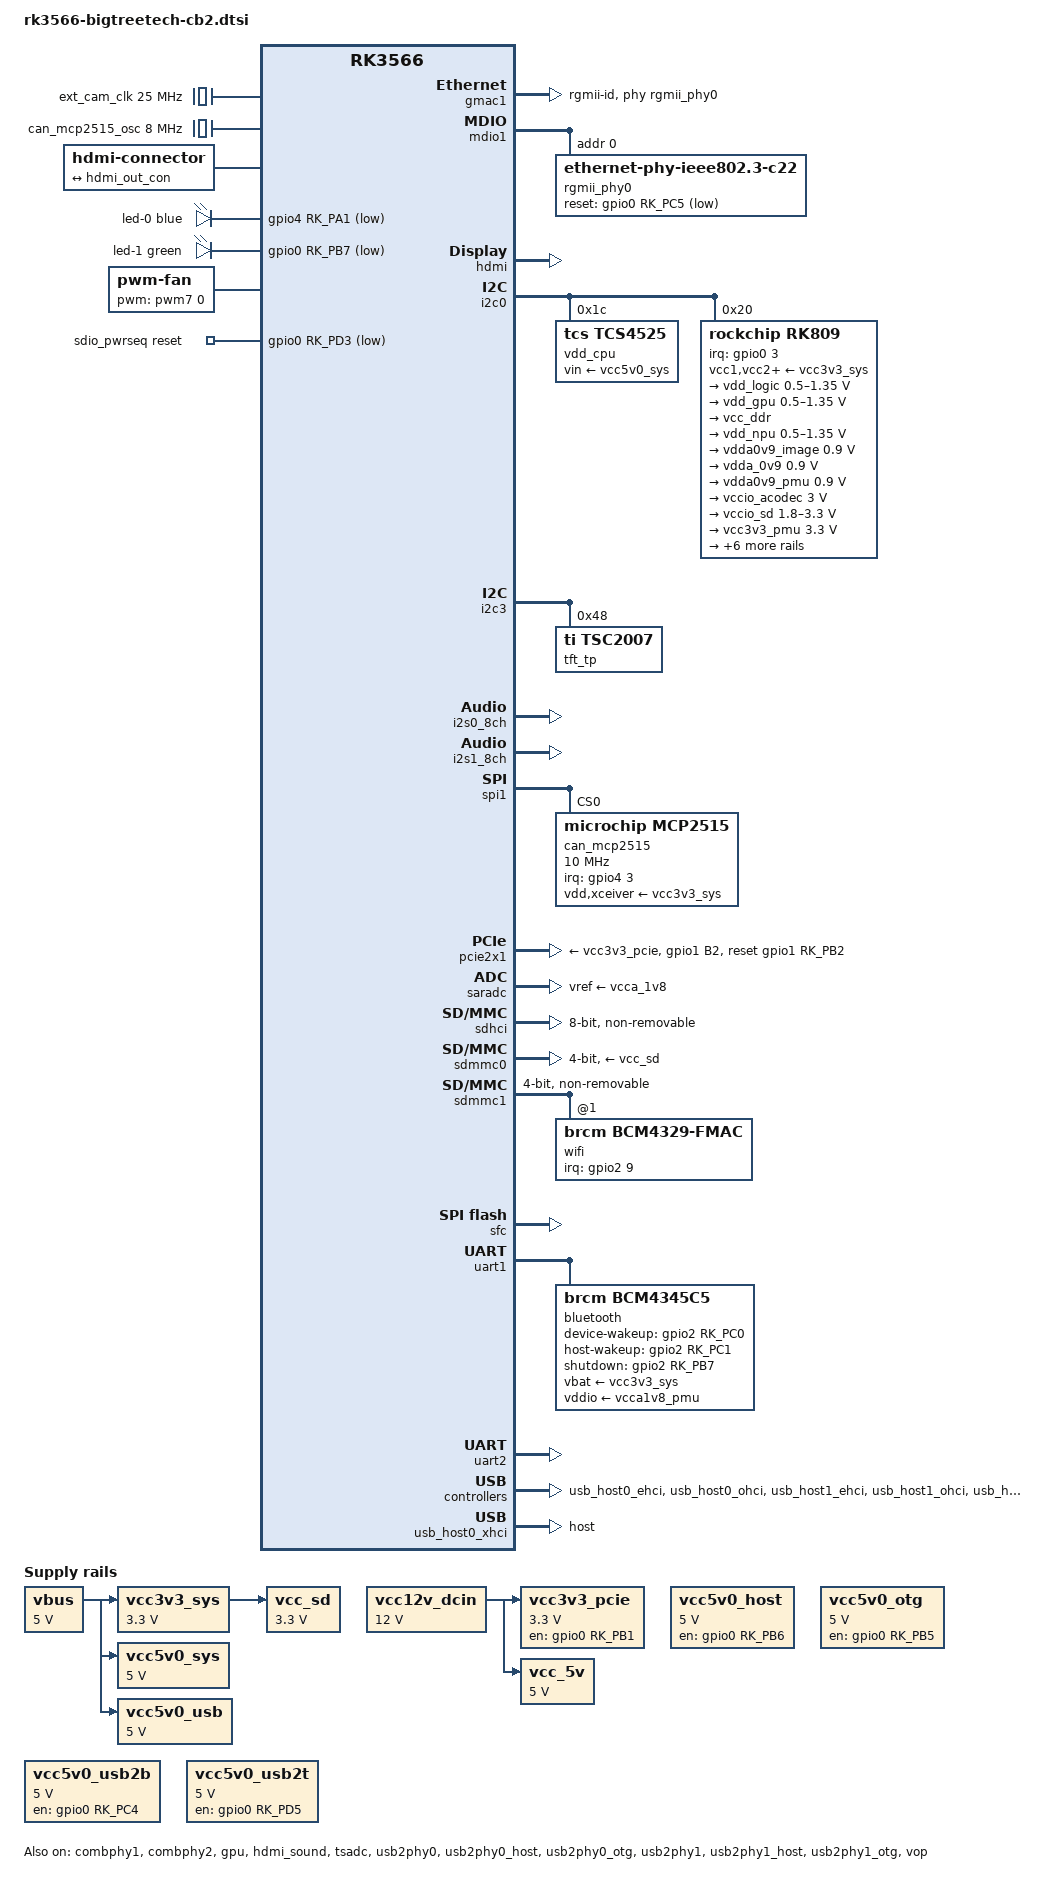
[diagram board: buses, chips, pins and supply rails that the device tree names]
// SPDX-License-Identifier: (GPL-2.0+ OR MIT)

/dts-v1/;

#include <dt-bindings/gpio/gpio.h>
#include <dt-bindings/pwm/pwm.h>
#include <dt-bindings/pinctrl/rockchip.h>
#include <dt-bindings/soc/rockchip,vop2.h>
#include <dt-bindings/leds/common.h>
#include "rk3566.dtsi"

/ {
	aliases {
		ethernet0 = &gmac1;
		mmc0 = &sdhci;
		mmc1 = &sdmmc0;
	};

	chosen: chosen {
		stdout-path = "serial2:1500000n8";
	};

	ext_cam_clk: clock-25000000-cam {
		compatible = "fixed-clock";
		clock-frequency = <25000000>;
		clock-output-names = "ext_cam_clk";
		#clock-cells = <0>;
	};

	can_mcp2515_osc: clock-8000000-mcp2515 {
		compatible = "fixed-clock";
		clock-frequency = <8000000>;
		#clock-cells = <0>;
	};

	hdmi-con {
		compatible = "hdmi-connector";
		type = "a";

		port {
			hdmi_con_in: endpoint {
				remote-endpoint = <&hdmi_out_con>;
			};
		};
	};

	leds: leds {
		compatible = "gpio-leds";

		led-0 {
			color = <LED_COLOR_ID_BLUE>;
			function = LED_FUNCTION_POWER;
			gpios = <&gpio4 RK_PA1 GPIO_ACTIVE_LOW>;
			linux,default-trigger = "default-on";
			pinctrl-names = "default";
			pinctrl-0 =<&blue_led>;
		};

		led-1 {
			color = <LED_COLOR_ID_GREEN>;
			function = LED_FUNCTION_HEARTBEAT;
			gpios = <&gpio0 RK_PB7 GPIO_ACTIVE_LOW>;
			linux,default-trigger = "heartbeat";
			pinctrl-names = "default";
			pinctrl-0 =<&heartbeat_led>;
		};
	};

	fan: pwm-fan {
		compatible = "pwm-fan";
		#cooling-cells = <2>;
		cooling-levels = <0 50 100 150 200 255>;
		pwms = <&pwm7 0 50000 0>;
	};

	rk809-sound {
		compatible = "simple-audio-card";
		simple-audio-card,format = "i2s";
		simple-audio-card,name = "Analog RK809";
		simple-audio-card,mclk-fs = <256>;

		simple-audio-card,cpu {
			sound-dai = <&i2s1_8ch>;
		};

		simple-audio-card,codec {
			sound-dai = <&rk809>;
		};
	};

	sdio_pwrseq: sdio-pwrseq {
		compatible = "mmc-pwrseq-simple";
		clocks = <&rk809 1>;
		clock-names = "ext_clock";
		pinctrl-names = "default";
		pinctrl-0 = <&wifi_enable_h>;
		post-power-on-delay-ms = <200>;
		reset-gpios = <&gpio0 RK_PD3 GPIO_ACTIVE_LOW>;
	};

	vbus: regulator-vbus {
		compatible = "regulator-fixed";
		regulator-name = "vbus";
		regulator-always-on;
		regulator-boot-on;
		regulator-min-microvolt = <5000000>;
		regulator-max-microvolt = <5000000>;
	};

	vcc12v_dcin: regulator-vcc12v-dcin {
		compatible = "regulator-fixed";
		regulator-name = "vcc12v_dcin";
		regulator-always-on;
		regulator-boot-on;
		regulator-min-microvolt = <12000000>;
		regulator-max-microvolt = <12000000>;
	};

	vcc3v3_pcie: regulator-vcc3v3-pcie {
		compatible = "regulator-fixed";
		regulator-name = "vcc3v3_pcie";
		enable-active-high;
		gpios = <&gpio0 RK_PB1 GPIO_ACTIVE_HIGH>;
		pinctrl-names = "default";
		pinctrl-0 = <&pcie_drv>;
		regulator-always-on;
		regulator-boot-on;
		regulator-min-microvolt = <3300000>;
		regulator-max-microvolt = <3300000>;
		vin-supply = <&vcc12v_dcin>;
	};

	vcc3v3_sys: regulator-vcc3v3-sys {
		compatible = "regulator-fixed";
		regulator-name = "vcc3v3_sys";
		regulator-always-on;
		regulator-boot-on;
		regulator-min-microvolt = <3300000>;
		regulator-max-microvolt = <3300000>;
		vin-supply = <&vbus>;
	};

	vcc5v0_host: regulator-vcc5v0-host {
		compatible = "regulator-fixed";
		enable-active-high;
		gpios = <&gpio0 RK_PB6 GPIO_ACTIVE_HIGH>;
		pinctrl-names = "default";
		pinctrl-0 = <&vcc5v0_host_en>;
		regulator-name = "vcc5v0_host3";
		regulator-always-on;
		regulator-min-microvolt = <5000000>;
		regulator-max-microvolt = <5000000>;
	};

	vcc5v0_otg: regulator-vcc5v0-otg {
		compatible = "regulator-fixed";
		enable-active-high;
		gpios = <&gpio0 RK_PB5 GPIO_ACTIVE_HIGH>;
		pinctrl-names = "default";
		pinctrl-0 = <&vcc5v0_otg_en>;
		regulator-name = "vcc5v0_otg3";
		regulator-always-on;
		regulator-min-microvolt = <5000000>;
		regulator-max-microvolt = <5000000>;
	};

	vcc5v0_sys: regulator-vcc5v0-sys {
		compatible = "regulator-fixed";
		regulator-name = "vcc5v0_sys";
		regulator-always-on;
		regulator-boot-on;
		regulator-min-microvolt = <5000000>;
		regulator-max-microvolt = <5000000>;
		vin-supply = <&vbus>;
	};

	vcc5v0_usb: regulator-vcc5v0-usb {
		compatible = "regulator-fixed";
		regulator-name = "vcc5v0_usb";
		regulator-always-on;
		regulator-boot-on;
		regulator-min-microvolt = <5000000>;
		regulator-max-microvolt = <5000000>;
		vin-supply = <&vbus>;
	};

	vcc5v0_usb2b: regulator-vcc5v0-usb2b {
		compatible = "regulator-fixed";
		enable-active-high;
		gpio = <&gpio0 RK_PC4 GPIO_ACTIVE_HIGH>;
		pinctrl-names = "default";
		pinctrl-0 = <&vcc5v0_usb2b_en>;
		regulator-name = "vcc5v0_usb2b";
		regulator-always-on;
		regulator-min-microvolt = <5000000>;
		regulator-max-microvolt = <5000000>;
	};

	vcc5v0_usb2t: regulator-vcc5v0-usb2t {
		compatible = "regulator-fixed";
		enable-active-high;
		gpios = <&gpio0 RK_PD5 GPIO_ACTIVE_HIGH>;
		pinctrl-names = "default";
		pinctrl-0 = <&vcc5v0_usb2t_en>;
		regulator-name = "vcc5v0_usb2t";
		regulator-always-on;
		regulator-min-microvolt = <5000000>;
		regulator-max-microvolt = <5000000>;
	};

	vcc_5v: regulator-vcc-5v {
		compatible = "regulator-fixed";
		regulator-name = "vcc_5v";
		regulator-always-on;
		regulator-boot-on;
		regulator-min-microvolt = <5000000>;
		regulator-max-microvolt = <5000000>;
		vin-supply = <&vcc12v_dcin>;
	};

	vcc_sd: regulator-vcc-sd {
		compatible = "regulator-fixed";
		regulator-max-microvolt = <3300000>;
		regulator-min-microvolt = <3300000>;
		regulator-name = "vcc_sd";
		vin-supply = <&vcc3v3_sys>;
	};
};

&combphy1 {
	status = "okay";
};

&combphy2 {
	status = "okay";
};

&cpu0 {
	cpu-supply = <&vdd_cpu>;
};

&cpu1 {
	cpu-supply = <&vdd_cpu>;
};

&cpu2 {
	cpu-supply = <&vdd_cpu>;
};

&cpu3 {
	cpu-supply = <&vdd_cpu>;
};

&gmac1 {
	assigned-clocks = <&cru SCLK_GMAC1_RX_TX>, <&cru SCLK_GMAC1>;
	assigned-clock-parents = <&cru SCLK_GMAC1_RGMII_SPEED>, <&cru CLK_MAC1_2TOP>;
	assigned-clock-rates = <0>, <125000000>;
	clock_in_out = "input";
	phy-handle = <&rgmii_phy0>;
	phy-mode = "rgmii-id";
	pinctrl-names = "default";
	pinctrl-0 = <&gmac1m0_miim
			&gmac1m0_tx_bus2
			&gmac1m0_rx_bus2
			&gmac1m0_rgmii_clk
			&gmac1m0_clkinout
			&gmac1m0_rgmii_bus>;
	status = "okay";
};

&mdio1 {
	rgmii_phy0: phy@0 {
		compatible = "ethernet-phy-ieee802.3-c22";
		reset-delay-us = <20000>;
		reset-gpios = <&gpio0 RK_PC5 GPIO_ACTIVE_LOW>;
		reset-post-delay-us = <100000>;
		reg = <0x0>;
	};
};

&gpu {
	mali-supply = <&vdd_gpu>;
	status = "okay";
};

&hdmi {
	avdd-0v9-supply = <&vdda0v9_image>;
	avdd-1v8-supply = <&vcca1v8_image>;
	status = "okay";
};

&hdmi_in {
	hdmi_in_vp0: endpoint {
		remote-endpoint = <&vp0_out_hdmi>;
	};
};

&hdmi_out {
	hdmi_out_con: endpoint {
		remote-endpoint = <&hdmi_con_in>;
	};
};

&hdmi_sound {
	status = "okay";
};

&i2c0 {
	status = "okay";

	vdd_cpu: regulator@1c {
		compatible = "tcs,tcs4525";
		reg = <0x1c>;
		regulator-name = "vdd_cpu";
		regulator-min-microvolt = <712500>;
		regulator-max-microvolt = <1390000>;
		regulator-initial-mode = <1>;
		regulator-ramp-delay = <2300>;
		regulator-boot-on;
		regulator-always-on;
		vin-supply = <&vcc5v0_sys>;
		fcs,suspend-voltage-selector = <1>;

		regulator-state-mem {
			regulator-off-in-suspend;
		};
	};

	rk809: pmic@20 {
		compatible = "rockchip,rk809";
		reg = <0x20>;
		interrupt-parent = <&gpio0>;
		interrupts = <3 IRQ_TYPE_LEVEL_LOW>;
		assigned-clocks = <&cru I2S1_MCLKOUT_TX>;
		assigned-clock-parents = <&cru CLK_I2S1_8CH_TX>;
		#clock-cells = <1>;
		clock-names = "mclk";
		clocks = <&cru I2S1_MCLKOUT_TX>;
		pinctrl-names = "default", "pmic-sleep",
				"pmic-power-off", "pmic-reset";
		pinctrl-0 = <&pmic_int>, <&i2s1m0_mclk>;
		#sound-dai-cells = <0>;
		system-power-controller;
		wakeup-source;

		vcc1-supply = <&vcc3v3_sys>;
		vcc2-supply = <&vcc3v3_sys>;
		vcc3-supply = <&vcc3v3_sys>;
		vcc4-supply = <&vcc3v3_sys>;
		vcc5-supply = <&vcc3v3_sys>;
		vcc6-supply = <&vcc3v3_sys>;
		vcc7-supply = <&vcc3v3_sys>;
		vcc8-supply = <&vcc3v3_sys>;
		vcc9-supply = <&vcc3v3_sys>;

		regulators {
			vdd_logic: DCDC_REG1 {
				regulator-always-on;
				regulator-boot-on;
				regulator-min-microvolt = <500000>;
				regulator-max-microvolt = <1350000>;
				regulator-ramp-delay = <6001>;
				regulator-initial-mode = <0x2>;
				regulator-name = "vdd_logic";

				regulator-state-mem {
					regulator-off-in-suspend;
				};
			};

			vdd_gpu: DCDC_REG2 {
				regulator-always-on;
				regulator-boot-on;
				regulator-min-microvolt = <500000>;
				regulator-max-microvolt = <1350000>;
				regulator-ramp-delay = <6001>;
				regulator-initial-mode = <0x2>;
				regulator-name = "vdd_gpu";

				regulator-state-mem {
					regulator-off-in-suspend;
				};
			};

			vcc_ddr: DCDC_REG3 {
				regulator-always-on;
				regulator-boot-on;
				regulator-initial-mode = <0x2>;
				regulator-name = "vcc_ddr";

				regulator-state-mem {
					regulator-on-in-suspend;
				};
			};

			vdd_npu: DCDC_REG4 {
				regulator-always-on;
				regulator-boot-on;
				regulator-min-microvolt = <500000>;
				regulator-max-microvolt = <1350000>;
				regulator-ramp-delay = <6001>;
				regulator-initial-mode = <0x2>;
				regulator-name = "vdd_npu";

				regulator-state-mem {
					regulator-off-in-suspend;
				};
			};

			vdda0v9_image: LDO_REG1 {
				regulator-boot-on;
				regulator-always-on;
				regulator-min-microvolt = <900000>;
				regulator-max-microvolt = <900000>;
				regulator-name = "vdda0v9_image";

				regulator-state-mem {
					regulator-off-in-suspend;
				};
			};

			vdda_0v9: LDO_REG2 {
				regulator-always-on;
				regulator-boot-on;
				regulator-min-microvolt = <900000>;
				regulator-max-microvolt = <900000>;
				regulator-name = "vdda_0v9";

				regulator-state-mem {
					regulator-off-in-suspend;
				};
			};

			vdda0v9_pmu: LDO_REG3 {
				regulator-always-on;
				regulator-boot-on;
				regulator-min-microvolt = <900000>;
				regulator-max-microvolt = <900000>;
				regulator-name = "vdda0v9_pmu";

				regulator-state-mem {
					regulator-on-in-suspend;
					regulator-suspend-microvolt = <900000>;
				};
			};

			vccio_acodec: LDO_REG4 {
				regulator-always-on;
				regulator-boot-on;
				regulator-min-microvolt = <3000000>;
				regulator-max-microvolt = <3000000>;
				regulator-name = "vccio_acodec";

				regulator-state-mem {
					regulator-off-in-suspend;
				};
			};

			vccio_sd: LDO_REG5 {
				regulator-always-on;
				regulator-boot-on;
				regulator-min-microvolt = <1800000>;
				regulator-max-microvolt = <3300000>;
				regulator-name = "vccio_sd";

				regulator-state-mem {
					regulator-off-in-suspend;
				};
			};

			vcc3v3_pmu: LDO_REG6 {
				regulator-always-on;
				regulator-boot-on;
				regulator-min-microvolt = <3300000>;
				regulator-max-microvolt = <3300000>;
				regulator-name = "vcc3v3_pmu";

				regulator-state-mem {
					regulator-on-in-suspend;
					regulator-suspend-microvolt = <3300000>;
				};
			};

			vcca_1v8: LDO_REG7 {
				regulator-always-on;
				regulator-boot-on;
				regulator-min-microvolt = <1800000>;
				regulator-max-microvolt = <1800000>;
				regulator-name = "vcca_1v8";

				regulator-state-mem {
					regulator-off-in-suspend;
				};
			};

			vcca1v8_pmu: LDO_REG8 {
				regulator-always-on;
				regulator-boot-on;
				regulator-min-microvolt = <1800000>;
				regulator-max-microvolt = <1800000>;
				regulator-name = "vcca1v8_pmu";

				regulator-state-mem {
					regulator-on-in-suspend;
					regulator-suspend-microvolt = <1800000>;
				};
			};

			vcca1v8_image: LDO_REG9 {
				regulator-always-on;
				regulator-boot-on;
				regulator-min-microvolt = <1800000>;
				regulator-max-microvolt = <1800000>;
				regulator-name = "vcca1v8_image";

				regulator-state-mem {
					regulator-off-in-suspend;
				};
			};

			vcc_1v8: DCDC_REG5 {
				regulator-always-on;
				regulator-boot-on;
				regulator-min-microvolt = <1800000>;
				regulator-max-microvolt = <1800000>;
				regulator-name = "vcc_1v8";

				regulator-state-mem {
					regulator-off-in-suspend;
				};
			};

			vcc_3v3: SWITCH_REG1 {
				regulator-always-on;
				regulator-boot-on;
				regulator-name = "vcc_3v3";

				regulator-state-mem {
					regulator-off-in-suspend;
				};
			};

			vcc3v3_sd: SWITCH_REG2 {
				regulator-always-on;
				regulator-boot-on;
				regulator-name = "vcc3v3_sd";

				regulator-state-mem {
					regulator-off-in-suspend;
				};
			};
		};

		codec {
			rockchip,mic-in-differential;
		};
	};
};

&i2c2 {
	pinctrl-0 = <&i2c2m1_xfer>;
};

&i2c3 {
	status = "okay";

	tft_tp: touchscreen@48 {
		compatible = "ti,tsc2007";
		reg = <0x48>;
		status = "okay";
		ti,x-plate-ohms = <660>;
		ti,rt-thr = <3000>;
		ti,fuzzx = <32>;
		ti,fuzzy = <16>;
	};
};

&i2s0_8ch {
	status = "okay";
};

&i2s1_8ch {
	pinctrl-names = "default";
	pinctrl-0 = <&i2s1m0_sclktx &i2s1m0_lrcktx &i2s1m0_sdi0 &i2s1m0_sdo0>;
	rockchip,trcm-sync-tx-only;
	status = "okay";
};

&spi1 {
	pinctrl-names = "default";
	pinctrl-0 = <&spi1m1_cs0 &spi1m1_pins>;

	can_mcp2515: can@0 {
		compatible = "microchip,mcp2515";
		reg = <0x00>;
		clocks = <&can_mcp2515_osc>;
		interrupt-parent = <&gpio4>;
		interrupts = <3 IRQ_TYPE_LEVEL_LOW>;
		pinctrl-names = "default";
		pinctrl-0 = <&mcp2515_int_pin>;
		spi-max-frequency = <10000000>;
		vdd-supply = <&vcc3v3_sys>;
		xceiver-supply = <&vcc3v3_sys>;
	};
};

&spi3 {
	pinctrl-names = "default";
	pinctrl-0 = <&spi3m1_cs0 &spi3m1_pins>;
};

&pcie2x1 {
	pinctrl-names = "default";
	pinctrl-0 = <&pcie_reset_h>;
	reset-gpios = <&gpio1 RK_PB2 GPIO_ACTIVE_HIGH>;
	vpcie3v3-supply = <&vcc3v3_pcie>;
	status = "okay";
};

&pinctrl {
	bt {
		bt_enable: bt-enable-h {
			rockchip,pins = <2 RK_PB7 RK_FUNC_GPIO &pcfg_pull_down>;
		};

		bt_host_wake: bt-host-wake-l {
			rockchip,pins = <2 RK_PC1 RK_FUNC_GPIO &pcfg_pull_down>;
		};

		bt_wake: bt-wake-l {
			rockchip,pins = <2 RK_PC0 RK_FUNC_GPIO &pcfg_pull_none>;
		};
	};

	pcie {
		pcie_drv: pcie-drv {
			rockchip,pins = <4 RK_PB1 RK_FUNC_GPIO &pcfg_pull_none>;
		};

		pcie_reset_h: pcie-reset-h {
			rockchip,pins = <1 RK_PB2 RK_FUNC_GPIO &pcfg_pull_none>;
		};
	};

	pmic {
		pmic_int: pmic-int {
			rockchip,pins = <0 RK_PA3 RK_FUNC_GPIO &pcfg_pull_up>;
		};
	};

	sdio-pwrseq {
		wifi_enable_h: wifi-enable-h {
			rockchip,pins = <0 RK_PD3 RK_FUNC_GPIO &pcfg_pull_none>;
		};

		wifi_host_wake: wifi-host-wake-l {
			rockchip,pins = <2 RK_PB1 RK_FUNC_GPIO &pcfg_pull_down>;
		};
	};

	usb {
		vcc5v0_host_en: vcc5v0-host-en {
			rockchip,pins = <0 RK_PB6 RK_FUNC_GPIO &pcfg_pull_none>;
		};

		vcc5v0_otg_en: vcc5v0-otg-en {
			rockchip,pins = <0 RK_PB5 RK_FUNC_GPIO &pcfg_pull_none>;
		};

		vcc5v0_usb2t_en: vcc5v0-usb2t-en {
			rockchip,pins = <3 RK_PD5 RK_FUNC_GPIO &pcfg_pull_none>;
		};

		vcc5v0_usb2b_en: vcc5v0-usb2b-en {
			rockchip,pins = <4 RK_PC4 RK_FUNC_GPIO &pcfg_pull_none>;
		};
	};

	work-led {
		heartbeat_led: led-heartbeat {
			rockchip,pins = <0 RK_PB7 RK_FUNC_GPIO &pcfg_pull_none>;
		};

		blue_led: led-blue {
			rockchip,pins = <4 RK_PA1 RK_FUNC_GPIO &pcfg_pull_none>;
		};
	};

	mcp2515 {
		mcp2515_int_pin: mcp2515-int-pin {
			rockchip,pins = <4 RK_PA3 RK_FUNC_GPIO &pcfg_pull_up>;
		};
	};
};

&pmu_io_domains {
	pmuio1-supply = <&vcc3v3_pmu>;
	pmuio2-supply = <&vcc3v3_pmu>;
	vccio1-supply = <&vcc_3v3>;
	vccio2-supply = <&vcc_1v8>;
	vccio3-supply = <&vccio_sd>;
	vccio4-supply = <&vcc_1v8>;
	vccio5-supply = <&vcc_3v3>;
	vccio6-supply = <&vcc_3v3>;
	vccio7-supply = <&vcc_3v3>;
	status = "okay";
};

&pwm0 {
	pinctrl-names = "default";
	pinctrl-0 = <&pwm0m1_pins>;
};

&pwm12 {
	pinctrl-names = "default";
	pinctrl-0 = <&pwm12m1_pins>;
};

&pwm13 {
	pinctrl-names = "default";
	pinctrl-0 = <&pwm13m1_pins>;
};

&pwm14 {
	pinctrl-names = "default";
	pinctrl-0 = <&pwm14m1_pins>;
};

&pwm15 {
	pinctrl-names = "default";
	pinctrl-0 = <&pwm15m1_pins>;
};

&saradc {
	vref-supply = <&vcca_1v8>;
	status = "okay";
};

&sdhci {
	bus-width = <8>;
	max-frequency = <200000000>;
	non-removable;
	pinctrl-names = "default";
	pinctrl-0 = <&emmc_bus8 &emmc_clk &emmc_cmd>;
	status = "okay";
};

&sdmmc0 {
	max-frequency = <150000000>;
	bus-width = <4>;
	cap-mmc-highspeed;
	cap-sd-highspeed;
	disable-wp;
	pinctrl-names = "default";
	pinctrl-0 = <&sdmmc0_bus4 &sdmmc0_clk &sdmmc0_cmd &sdmmc0_det>;
	vmmc-supply = <&vcc_sd>;
	vqmmc-supply = <&vccio_sd>;
	status = "okay";
};

&sdmmc1 {
	/* WiFi & BT combo module AMPAK AP6256 */
	#address-cells = <1>;
	#size-cells = <0>;
	bus-width = <4>;
	cap-sd-highspeed;
	cap-sdio-irq;
	disable-wp;
	keep-power-in-suspend;
	max-frequency = <150000000>;
	mmc-pwrseq = <&sdio_pwrseq>;
	non-removable;
	pinctrl-names = "default";
	pinctrl-0 = <&sdmmc1_bus4 &sdmmc1_cmd &sdmmc1_clk>;
	rockchip,default-sample-phase = <90>;
	status = "okay";

	wifi@1 {
		compatible = "brcm,bcm4329-fmac";
		reg = <1>;
		interrupt-parent = <&gpio2>;
		interrupts = <9 IRQ_TYPE_LEVEL_HIGH>;
		interrupt-names = "host-wake";
		pinctrl-names = "default";
		pinctrl-0 = <&wifi_host_wake>;
		brcm,drive-strength = <10>;
	};
};

&sfc {
	#address-cells = <1>;
	#size-cells = <0>;
	status = "okay";
};

&tsadc {
	status = "okay";
};

&uart1 {
	dma-names = "tx","rx";
	pinctrl-names = "default";
	pinctrl-0 = <&uart1m0_xfer &uart1m0_ctsn &uart1m0_rtsn>;
	uart-has-rtscts;
	status = "okay";

	bluetooth {
		compatible = "brcm,bcm4345c5";
		clocks = <&rk809 1>;
		clock-names = "lpo";
		device-wakeup-gpios = <&gpio2 RK_PC0 GPIO_ACTIVE_HIGH>;
		host-wakeup-gpios = <&gpio2 RK_PC1 GPIO_ACTIVE_HIGH>;
		shutdown-gpios = <&gpio2 RK_PB7 GPIO_ACTIVE_HIGH>;
		pinctrl-names = "default";
		pinctrl-0 = <&bt_host_wake &bt_wake &bt_enable>;
		vbat-supply = <&vcc3v3_sys>;
		vddio-supply = <&vcca1v8_pmu>;
	};
};

&uart2 {
	status = "okay";
};

&uart5 {
	pinctrl-names = "default";
	pinctrl-0 = <&uart5m1_xfer>;
};

&uart7 {
	pinctrl-names = "default";
	pinctrl-0 = <&uart7m2_xfer>;
};

&usb2phy0 {
	status = "okay";
};

&usb2phy0_host {
	phy-supply = <&vcc5v0_host>;
	status = "okay";
};

&usb2phy0_otg {
	phy-supply = <&vcc5v0_otg>;
	status = "okay";
};

&usb2phy1 {
	status = "okay";
};

&usb2phy1_host {
	phy-supply = <&vcc5v0_usb2t>;
	status = "okay";
};

&usb2phy1_otg {
	phy-supply = <&vcc5v0_usb2b>;
	status = "okay";
};

&usb_host0_ehci {
	status = "okay";
};

&usb_host0_ohci {
	status = "okay";
};

&usb_host0_xhci {
	dr_mode = "host";
	extcon = <&usb2phy0>;
	status = "okay";
};

&usb_host1_ehci {
	status = "okay";
};

&usb_host1_ohci {
	status = "okay";
};

&usb_host1_xhci {
	status = "okay";
};

&vop {
	assigned-clocks = <&cru DCLK_VOP0>, <&cru DCLK_VOP1>;
	assigned-clock-parents = <&pmucru PLL_HPLL>, <&cru PLL_VPLL>;
	status = "okay";
};

&vop_mmu {
	status = "okay";
};

&vp0 {
	vp0_out_hdmi: endpoint@ROCKCHIP_VOP2_EP_HDMI0 {
		reg = <ROCKCHIP_VOP2_EP_HDMI0>;
		remote-endpoint = <&hdmi_in_vp0>;
	};
};
